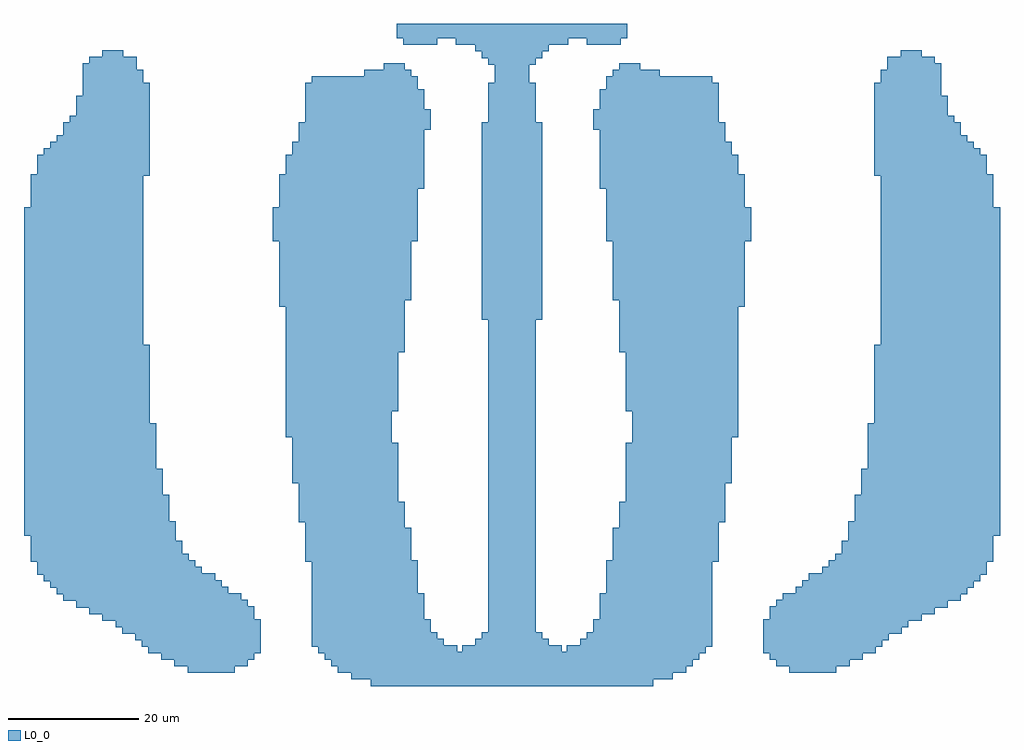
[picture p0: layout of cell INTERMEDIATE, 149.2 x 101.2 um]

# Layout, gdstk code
import gdstk
lib = gdstk.Library(unit=1e-6, precision=1e-09)
def R(c, l, rs):  # rectangles x0, y0, x1, y1
    for r in rs: c.add(gdstk.rectangle(r[:2], r[2:], *l))
def A(c, l, x, y, w, h, nx, ny, dx, dy):  # array of equal rectangles
    R(c, l, [(x+i*dx, y+j*dy, x+i*dx+w, y+j*dy+h) for i in range(nx) for j in range(ny)])
def P(c, l, *ps):  # polygons
    for p in ps: c.add(gdstk.Polygon(p, *l))
L0_0 = (0, 0)

intermediate = lib.new_cell('INTERMEDIATE')
A(intermediate, L0_0, 71.9, -91.1, 7.2, 1.2, 1, 8, 0, 1)
A(intermediate, L0_0, 88.9, -91.1, 17.2, 1.2, 1, 4, 0, 1)
A(intermediate, L0_0, 44.9, -87.1, 16.2, 1.2, 1, 5, 0, 1)
A(intermediate, L0_0, 89.9, -87.1, 16.2, 1.2, 1, 3, 0, 1)
A(intermediate, L0_0, 90.9, -81.1, 16.2, 1.2, 1, 4, 0, 1)
A(intermediate, L0_0, 71.9, -80.1, 7.2, 1.2, 1, 4, 0, 1)
A(intermediate, L0_0, 71.9, -76.1, 7.2, 2.2, 1, 3, 0, 5)
A(intermediate, L0_0, 71.9, -74.1, 7.2, 1.2, 1, 3, 0, 1)
A(intermediate, L0_0, 71.9, -69.1, 7.2, 1.2, 1, 3, 0, 1)
A(intermediate, L0_0, 71.9, -57.1, 7.2, 2.2, 1, 3, 0, 5)
A(intermediate, L0_0, 71.9, -55.1, 7.2, 1.2, 1, 3, 0, 1)
A(intermediate, L0_0, 71.9, -50.1, 7.2, 1.2, 1, 3, 0, 1)
A(intermediate, L0_0, 70.9, -45.1, 9.2, 1.2, 1, 3, 0, 1)
A(intermediate, L0_0, 0.9, -43.1, 18.2, 1.2, 1, 3, 0, 1)
A(intermediate, L0_0, 131.9, -41.1, 18.2, 1.2, 1, 3, 0, 1)
A(intermediate, L0_0, 90.9, -40.1, 20.2, 1.2, 1, 3, 0, 1)
A(intermediate, L0_0, 70.9, -39.1, 9.2, 1.2, 1, 4, 0, 1)
A(intermediate, L0_0, 39.9, -38.1, 20.2, 1.2, 1, 3, 0, 1)
A(intermediate, L0_0, 0.9, -37.1, 18.2, 1.2, 1, 4, 0, 1)
A(intermediate, L0_0, 131.9, -35.1, 18.2, 1.2, 1, 5, 0, 1)
A(intermediate, L0_0, 70.9, -33.1, 9.2, 1.2, 1, 6, 0, 1)
A(intermediate, L0_0, 89.9, -33.1, 22.2, 1.2, 1, 4, 0, 1)
A(intermediate, L0_0, 38.9, -31.1, 22.2, 1.2, 1, 3, 0, 1)
A(intermediate, L0_0, 1.9, -28.1, 17.2, 1.2, 1, 3, 0, 1)
A(intermediate, L0_0, 131.9, -27.1, 17.2, 1.2, 1, 4, 0, 1)
A(intermediate, L0_0, 70.9, -25.1, 9.2, 1.2, 1, 5, 0, 1)
A(intermediate, L0_0, 40.9, -23.1, 21.2, 1.2, 1, 3, 0, 1)
R(intermediate, L0_0, [(79.9,-101.1,97.1,-99.9), (25.9,-99.1,33.1,-97.9), (117.9,-99.1,125.1,-97.9), (115.9,-98.1,127.1,-96.9), (114.9,-97.1,129.1,-95.9), (45.9,-96.1,67.1,-94.9), (67.9,-96.1,83.1,-94.9), (83.9,-96.1,105.1,-94.9), (18.9,-95.1,37.1,-93.9), (44.9,-95.1,65.1,-93.9), (69.9,-95.1,81.1,-93.9), (85.9,-95.1,106.1,-93.9), (17.9,-94.1,37.1,-92.9), (44.9,-94.1,64.1,-92.9), (70.9,-94.1,80.1,-92.9), (15.9,-93.1,37.1,-91.9), (71.9,-93.1,79.1,-90.9), (14.9,-92.1,37.1,-90.9), (113.9,-92.1,136.1,-90.9), (114.9,-91.1,138.1,-89.9), (114.9,-90.1,140.1,-88.9), (44.9,-89.1,62.1,-87.9), (115.9,-89.1,142.1,-87.9), (44.9,-88.1,62.1,-86.9), (116.9,-88.1,144.1,-86.9), (4.9,-86.1,31.1,-84.9), (3.9,-85.1,30.1,-83.9), (2.9,-84.1,28.1,-82.9), (2.9,-83.1,27.1,-81.9), (1.9,-82.1,26.1,-80.9), (124.9,-82.1,149.1,-80.9), (125.9,-81.1,149.1,-79.9), (125.9,-80.1,149.1,-78.9), (43.9,-79.1,60.1,-77.9), (0.9,-78.1,24.1,-76.9), (43.9,-78.1,60.1,-76.9), (0.9,-77.1,24.1,-75.9), (43.9,-77.1,59.1,-75.9), (0.9,-76.1,23.1,-74.9), (91.9,-75.1,108.1,-73.9), (127.9,-75.1,150.1,-73.9), (91.9,-74.1,108.1,-72.9), (127.9,-74.1,150.1,-72.9), (42.9,-73.1,58.1,-71.9), (92.9,-73.1,108.1,-71.9), (0.9,-72.1,22.1,-70.9), (42.9,-72.1,58.1,-70.9), (0.9,-71.1,22.1,-69.9), (128.9,-70.1,150.1,-68.9), (92.9,-69.1,109.1,-67.9), (128.9,-69.1,150.1,-67.9), (41.9,-68.1,58.1,-66.9), (92.9,-68.1,109.1,-66.9), (0.9,-67.1,21.1,-65.9), (41.9,-67.1,58.1,-65.9), (0.9,-66.1,21.1,-64.9), (129.9,-65.1,150.1,-63.9), (71.9,-64.1,79.1,-62.9), (93.9,-64.1,109.1,-62.9), (129.9,-64.1,150.1,-62.9), (40.9,-63.1,57.1,-61.9), (71.9,-63.1,79.1,-61.9), (93.9,-63.1,110.1,-61.9), (0.9,-62.1,21.1,-60.9), (40.9,-62.1,57.1,-60.9), (93.9,-62.1,110.1,-59.9), (40.9,-61.1,57.1,-58.9), (93.9,-60.1,110.1,-58.9), (130.9,-60.1,150.1,-58.9), (40.9,-59.1,58.1,-57.9), (71.9,-59.1,79.1,-57.9), (92.9,-59.1,110.1,-57.9), (0.9,-58.1,20.1,-56.9), (40.9,-58.1,58.1,-56.9), (71.9,-58.1,79.1,-56.9), (0.9,-57.1,20.1,-55.9), (130.9,-56.1,150.1,-54.9), (92.9,-55.1,110.1,-53.9), (130.9,-55.1,150.1,-53.9), (40.9,-54.1,58.1,-52.9), (92.9,-54.1,110.1,-52.9), (0.9,-53.1,20.1,-51.9), (40.9,-53.1,58.1,-51.9), (0.9,-52.1,20.1,-50.9), (130.9,-51.1,150.1,-49.9), (91.9,-50.1,110.1,-48.9), (130.9,-50.1,150.1,-48.9), (40.9,-49.1,59.1,-47.9), (91.9,-49.1,110.1,-47.9), (0.9,-48.1,19.1,-46.9), (40.9,-48.1,59.1,-46.9), (0.9,-47.1,19.1,-45.9), (131.9,-46.1,150.1,-44.9), (91.9,-45.1,110.1,-43.9), (131.9,-45.1,150.1,-43.9), (40.9,-44.1,59.1,-42.9), (91.9,-44.1,110.1,-42.9), (39.9,-43.1,59.1,-41.9), (39.9,-42.1,60.1,-40.9), (70.9,-35.1,80.1,-32.9), (0.9,-29.1,19.1,-27.9), (39.9,-28.1,61.1,-26.9), (70.9,-27.1,80.1,-24.9), (88.9,-25.1,111.1,-23.9), (88.9,-24.1,111.1,-22.9), (88.9,-23.1,110.1,-21.9), (2.9,-22.1,20.1,-20.9), (2.9,-21.1,20.1,-19.9), (3.9,-20.1,20.1,-18.9), (70.9,-20.1,80.1,-17.9), (130.9,-20.1,147.1,-18.9), (88.9,-19.1,109.1,-17.9), (130.9,-19.1,146.1,-17.9), (70.9,-18.1,80.1,-16.9), (88.9,-18.1,108.1,-16.9), (6.9,-17.1,20.1,-15.9), (42.9,-17.1,62.1,-15.9), (70.9,-17.1,80.1,-15.9), (6.9,-16.1,20.1,-14.9), (130.9,-15.1,143.1,-13.9), (71.9,-14.1,79.1,-12.9), (130.9,-14.1,142.1,-11.9), (8.9,-13.1,20.1,-11.9), (71.9,-13.1,79.1,-10.9), (130.9,-12.1,142.1,-10.9), (71.9,-11.1,79.1,-9.9), (130.9,-11.1,141.1,-8.9)])
P(intermediate, L0_0, [(84.1,-2.1),(86.9,-2.1),(86.9,-3.1),(92.1,-3.1),(92.1,-2.1),(93.1,-2.1),(93.1,0.1),(57.9,0.1),(57.9,-2.1),(58.9,-2.1),(58.9,-3.1),(64.1,-3.1),(64.1,-2.1),(66.9,-2.1),(66.9,-3.1),(69.9,-3.1),(69.9,-4.1),(73.1,-4.1),(73.1,-3.1),(84.1,-3.1)],
  [(79.1,-6.1),(79.1,-5.1),(80.1,-5.1),(80.1,-4.1),(81.1,-4.1),(81.1,-2.9),(72.9,-2.9),(72.9,-3.9),(70.9,-3.9),(70.9,-5.1),(71.9,-5.1),(71.9,-6.1),(72.9,-6.1),(72.9,-8.1),(78.1,-8.1),(78.1,-6.1)],
  [(141.1,-5.9),(140.1,-5.9),(140.1,-4.9),(138.1,-4.9),(138.1,-3.9),(134.9,-3.9),(134.9,-4.9),(132.9,-4.9),(132.9,-6.9),(131.9,-6.9),(131.9,-8.1),(133.1,-8.1),(133.1,-7.1),(141.1,-7.1)],
  [(16.1,-4.9),(16.1,-3.9),(12.9,-3.9),(12.9,-4.9),(10.9,-4.9),(10.9,-5.9),(9.9,-5.9),(9.9,-8.1),(19.1,-8.1),(19.1,-6.9),(18.1,-6.9),(18.1,-4.9)],
  [(95.1,-5.9),(91.9,-5.9),(91.9,-6.9),(90.9,-6.9),(90.9,-8.1),(98.1,-8.1),(98.1,-6.9),(95.1,-6.9)],
  [(55.9,-6.9),(52.9,-6.9),(52.9,-8.1),(60.1,-8.1),(60.1,-6.9),(59.1,-6.9),(59.1,-5.9),(55.9,-5.9)],
  [(132.9,-6.9),(132.9,-7.9),(131.9,-7.9),(131.9,-9.1),(141.1,-9.1),(141.1,-6.9)],
  [(106.1,-7.9),(89.9,-7.9),(89.9,-10.1),(93.1,-10.1),(93.1,-9.1),(106.1,-9.1)],
  [(72.9,-8.9),(71.9,-8.9),(71.9,-10.1),(79.1,-10.1),(79.1,-8.9),(78.1,-8.9),(78.1,-7.9),(72.9,-7.9)],
  [(9.9,-10.1),(20.1,-10.1),(20.1,-8.9),(19.1,-8.9),(19.1,-7.9),(9.9,-7.9)],
  [(44.9,-7.9),(44.9,-8.9),(43.9,-8.9),(43.9,-10.1),(61.1,-10.1),(61.1,-7.9)],
  [(92.9,-8.9),(92.9,-9.9),(88.9,-9.9),(88.9,-11.1),(107.1,-11.1),(107.1,-8.9)],
  [(62.1,-9.9),(43.9,-9.9),(43.9,-12.1),(46.1,-12.1),(46.1,-11.1),(62.1,-11.1)],
  [(9.9,-9.9),(9.9,-10.9),(8.9,-10.9),(8.9,-12.1),(20.1,-12.1),(20.1,-9.9)],
  [(107.1,-10.9),(88.9,-10.9),(88.9,-13.1),(101.1,-13.1),(101.1,-12.1),(107.1,-12.1)],
  [(45.9,-10.9),(45.9,-11.9),(43.9,-11.9),(43.9,-13.1),(62.1,-13.1),(62.1,-10.9)],
  [(100.9,-11.9),(100.9,-12.9),(87.9,-12.9),(87.9,-14.1),(107.1,-14.1),(107.1,-11.9)],
  [(8.9,-12.9),(8.9,-13.9),(7.9,-13.9),(7.9,-15.1),(20.1,-15.1),(20.1,-12.9)],
  [(63.1,-12.9),(43.9,-12.9),(43.9,-15.1),(48.1,-15.1),(48.1,-14.1),(63.1,-14.1)],
  [(107.1,-13.9),(87.9,-13.9),(87.9,-16.1),(93.1,-16.1),(93.1,-15.1),(107.1,-15.1)],
  [(47.9,-13.9),(47.9,-14.9),(42.9,-14.9),(42.9,-16.1),(63.1,-16.1),(63.1,-13.9)],
  [(71.9,-14.9),(70.9,-14.9),(70.9,-16.1),(80.1,-16.1),(80.1,-14.9),(79.1,-14.9),(79.1,-13.9),(71.9,-13.9)],
  [(92.9,-14.9),(92.9,-15.9),(88.9,-15.9),(88.9,-17.1),(108.1,-17.1),(108.1,-14.9)],
  [(130.9,-17.1),(143.1,-17.1),(143.1,-16.1),(144.1,-16.1),(144.1,-14.9),(130.9,-14.9)],
  [(130.9,-18.1),(145.1,-18.1),(145.1,-16.9),(144.1,-16.9),(144.1,-15.9),(142.9,-15.9),(142.9,-16.9),(130.9,-16.9)],
  [(5.9,-16.9),(5.9,-17.9),(4.9,-17.9),(4.9,-19.1),(20.1,-19.1),(20.1,-16.9)],
  [(62.1,-16.9),(42.9,-16.9),(42.9,-17.9),(41.9,-17.9),(41.9,-19.1),(51.1,-19.1),(51.1,-18.1),(62.1,-18.1)],
  [(50.9,-17.9),(50.9,-18.9),(41.9,-18.9),(41.9,-20.1),(62.1,-20.1),(62.1,-17.9)],
  [(109.1,-18.9),(88.9,-18.9),(88.9,-21.1),(106.1,-21.1),(106.1,-20.1),(109.1,-20.1)],
  [(105.9,-19.9),(105.9,-20.9),(88.9,-20.9),(88.9,-22.1),(110.1,-22.1),(110.1,-19.9)],
  [(148.1,-19.9),(130.9,-19.9),(130.9,-22.1),(142.1,-22.1),(142.1,-21.1),(148.1,-21.1)],
  [(141.9,-20.9),(141.9,-21.9),(130.9,-21.9),(130.9,-23.1),(148.1,-23.1),(148.1,-20.9)],
  [(20.1,-21.9),(2.9,-21.9),(2.9,-22.9),(1.9,-22.9),(1.9,-24.1),(11.1,-24.1),(11.1,-23.1),(20.1,-23.1)],
  [(10.9,-22.9),(10.9,-23.9),(1.9,-23.9),(1.9,-25.1),(19.1,-25.1),(19.1,-22.9)],
  [(62.1,-22.9),(39.9,-22.9),(39.9,-25.1),(45.1,-25.1),(45.1,-24.1),(62.1,-24.1)],
  [(62.1,-23.9),(44.9,-23.9),(44.9,-24.9),(39.9,-24.9),(39.9,-26.1),(58.1,-26.1),(58.1,-25.1),(62.1,-25.1)],
  [(111.1,-24.9),(89.9,-24.9),(89.9,-27.1),(93.1,-27.1),(93.1,-26.1),(111.1,-26.1)],
  [(57.9,-24.9),(57.9,-25.9),(39.9,-25.9),(39.9,-27.1),(61.1,-27.1),(61.1,-24.9)],
  [(111.1,-25.9),(92.9,-25.9),(92.9,-26.9),(89.9,-26.9),(89.9,-28.1),(108.1,-28.1),(108.1,-27.1),(111.1,-27.1)],
  [(107.9,-27.9),(89.9,-27.9),(89.9,-29.1),(112.1,-29.1),(112.1,-27.9),(111.1,-27.9),(111.1,-26.9),(107.9,-26.9)],
  [(149.1,-26.9),(131.9,-26.9),(131.9,-29.1),(141.1,-29.1),(141.1,-28.1),(149.1,-28.1)],
  [(140.9,-27.9),(140.9,-28.9),(131.9,-28.9),(131.9,-30.1),(150.1,-30.1),(150.1,-27.9)],
  [(19.1,-28.9),(0.9,-28.9),(0.9,-31.1),(3.1,-31.1),(3.1,-30.1),(19.1,-30.1)],
  [(19.1,-29.9),(2.9,-29.9),(2.9,-30.9),(0.9,-30.9),(0.9,-32.1),(14.1,-32.1),(14.1,-31.1),(19.1,-31.1)],
  [(13.9,-30.9),(13.9,-31.9),(0.9,-31.9),(0.9,-33.1),(19.1,-33.1),(19.1,-30.9)],
  [(61.1,-30.9),(38.9,-30.9),(38.9,-33.1),(45.1,-33.1),(45.1,-32.1),(61.1,-32.1)],
  [(61.1,-31.9),(44.9,-31.9),(44.9,-32.9),(39.9,-32.9),(39.9,-34.1),(57.1,-34.1),(57.1,-33.1),(61.1,-33.1)],
  [(111.1,-32.9),(90.9,-32.9),(90.9,-35.1),(94.1,-35.1),(94.1,-34.1),(111.1,-34.1)],
  [(56.9,-32.9),(56.9,-33.9),(39.9,-33.9),(39.9,-35.1),(60.1,-35.1),(60.1,-32.9)],
  [(111.1,-33.9),(93.9,-33.9),(93.9,-34.9),(90.9,-34.9),(90.9,-36.1),(109.1,-36.1),(109.1,-35.1),(111.1,-35.1)],
  [(108.9,-34.9),(108.9,-35.9),(90.9,-35.9),(90.9,-37.1),(111.1,-37.1),(111.1,-34.9)],
  [(150.1,-34.9),(131.9,-34.9),(131.9,-37.1),(145.1,-37.1),(145.1,-36.1),(150.1,-36.1)],
  [(144.9,-35.9),(144.9,-36.9),(131.9,-36.9),(131.9,-38.1),(150.1,-38.1),(150.1,-35.9)],
  [(19.1,-36.9),(0.9,-36.9),(0.9,-39.1),(11.1,-39.1),(11.1,-38.1),(19.1,-38.1)],
  [(10.9,-37.9),(10.9,-38.9),(0.9,-38.9),(0.9,-40.1),(19.1,-40.1),(19.1,-37.9)],
  [(60.1,-37.9),(39.9,-37.9),(39.9,-40.1),(47.1,-40.1),(47.1,-39.1),(60.1,-39.1)],
  [(46.9,-38.9),(46.9,-39.9),(39.9,-39.9),(39.9,-41.1),(60.1,-41.1),(60.1,-38.9)],
  [(80.1,-38.9),(70.9,-38.9),(70.9,-41.1),(73.1,-41.1),(73.1,-40.1),(80.1,-40.1)],
  [(111.1,-39.9),(90.9,-39.9),(90.9,-42.1),(99.1,-42.1),(99.1,-41.1),(111.1,-41.1)],
  [(72.9,-39.9),(72.9,-40.9),(70.9,-40.9),(70.9,-42.1),(80.1,-42.1),(80.1,-39.9)],
  [(98.9,-40.9),(98.9,-41.9),(91.9,-41.9),(91.9,-43.1),(111.1,-43.1),(111.1,-40.9)],
  [(150.1,-40.9),(131.9,-40.9),(131.9,-43.1),(137.1,-43.1),(137.1,-42.1),(150.1,-42.1)],
  [(136.9,-41.9),(136.9,-42.9),(131.9,-42.9),(131.9,-44.1),(150.1,-44.1),(150.1,-41.9)],
  [(19.1,-42.9),(0.9,-42.9),(0.9,-45.1),(7.1,-45.1),(7.1,-44.1),(19.1,-44.1)],
  [(6.9,-43.9),(6.9,-44.9),(0.9,-44.9),(0.9,-46.1),(19.1,-46.1),(19.1,-43.9)],
  [(59.1,-43.9),(40.9,-43.9),(40.9,-46.1),(48.1,-46.1),(48.1,-45.1),(59.1,-45.1)],
  [(110.1,-44.9),(91.9,-44.9),(91.9,-47.1),(95.1,-47.1),(95.1,-46.1),(110.1,-46.1)],
  [(47.9,-44.9),(47.9,-45.9),(40.9,-45.9),(40.9,-47.1),(59.1,-47.1),(59.1,-44.9)],
  [(150.1,-45.9),(131.9,-45.9),(131.9,-48.1),(138.1,-48.1),(138.1,-47.1),(150.1,-47.1)],
  [(94.9,-45.9),(94.9,-46.9),(91.9,-46.9),(91.9,-48.1),(110.1,-48.1),(110.1,-45.9)],
  [(137.9,-46.9),(137.9,-47.9),(131.9,-47.9),(131.9,-49.1),(150.1,-49.1),(150.1,-46.9)],
  [(19.1,-47.9),(0.9,-47.9),(0.9,-50.1),(10.1,-50.1),(10.1,-49.1),(19.1,-49.1)],
  [(9.9,-48.9),(9.9,-49.9),(0.9,-49.9),(0.9,-51.1),(20.1,-51.1),(20.1,-48.9)],
  [(59.1,-48.9),(40.9,-48.9),(40.9,-51.1),(50.1,-51.1),(50.1,-50.1),(59.1,-50.1)],
  [(110.1,-49.9),(92.9,-49.9),(92.9,-52.1),(99.1,-52.1),(99.1,-51.1),(110.1,-51.1)],
  [(49.9,-49.9),(49.9,-50.9),(40.9,-50.9),(40.9,-52.1),(58.1,-52.1),(58.1,-49.9)],
  [(98.9,-50.9),(98.9,-51.9),(92.9,-51.9),(92.9,-53.1),(110.1,-53.1),(110.1,-50.9)],
  [(150.1,-50.9),(130.9,-50.9),(130.9,-53.1),(141.1,-53.1),(141.1,-52.1),(150.1,-52.1)],
  [(140.9,-51.9),(140.9,-52.9),(130.9,-52.9),(130.9,-54.1),(150.1,-54.1),(150.1,-51.9)],
  [(20.1,-52.9),(0.9,-52.9),(0.9,-55.1),(13.1,-55.1),(13.1,-54.1),(20.1,-54.1)],
  [(12.9,-53.9),(12.9,-54.9),(0.9,-54.9),(0.9,-56.1),(20.1,-56.1),(20.1,-53.9)],
  [(58.1,-53.9),(40.9,-53.9),(40.9,-56.1),(55.1,-56.1),(55.1,-55.1),(58.1,-55.1)],
  [(110.1,-54.9),(92.9,-54.9),(92.9,-57.1),(104.1,-57.1),(104.1,-56.1),(110.1,-56.1)],
  [(54.9,-54.9),(54.9,-55.9),(40.9,-55.9),(40.9,-57.1),(58.1,-57.1),(58.1,-54.9)],
  [(103.9,-55.9),(103.9,-56.9),(92.9,-56.9),(92.9,-58.1),(110.1,-58.1),(110.1,-55.9)],
  [(150.1,-55.9),(130.9,-55.9),(130.9,-58.1),(146.1,-58.1),(146.1,-57.1),(150.1,-57.1)],
  [(145.9,-56.9),(145.9,-57.9),(130.9,-57.9),(130.9,-59.1),(150.1,-59.1),(150.1,-56.9)],
  [(20.1,-57.9),(0.9,-57.9),(0.9,-60.1),(18.1,-60.1),(18.1,-59.1),(20.1,-59.1)],
  [(17.9,-58.9),(17.9,-59.9),(0.9,-59.9),(0.9,-61.1),(20.1,-61.1),(20.1,-58.9)],
  [(79.1,-58.9),(71.9,-58.9),(71.9,-61.1),(77.1,-61.1),(77.1,-60.1),(79.1,-60.1)],
  [(150.1,-59.9),(130.9,-59.9),(130.9,-60.9),(129.9,-60.9),(129.9,-62.1),(134.1,-62.1),(134.1,-61.1),(150.1,-61.1)],
  [(76.9,-59.9),(76.9,-60.9),(71.9,-60.9),(71.9,-62.1),(79.1,-62.1),(79.1,-59.9)],
  [(133.9,-60.9),(133.9,-61.9),(129.9,-61.9),(129.9,-63.1),(150.1,-63.1),(150.1,-60.9)],
  [(21.1,-61.9),(0.9,-61.9),(0.9,-64.1),(6.1,-64.1),(6.1,-63.1),(21.1,-63.1)],
  [(5.9,-62.9),(5.9,-63.9),(0.9,-63.9),(0.9,-65.1),(21.1,-65.1),(21.1,-62.9)],
  [(57.1,-62.9),(41.9,-62.9),(41.9,-65.1),(50.1,-65.1),(50.1,-64.1),(57.1,-64.1)],
  [(109.1,-63.9),(92.9,-63.9),(92.9,-66.1),(99.1,-66.1),(99.1,-65.1),(109.1,-65.1)],
  [(49.9,-63.9),(49.9,-64.9),(41.9,-64.9),(41.9,-66.1),(58.1,-66.1),(58.1,-63.9)],
  [(98.9,-64.9),(98.9,-65.9),(92.9,-65.9),(92.9,-67.1),(109.1,-67.1),(109.1,-64.9)],
  [(150.1,-64.9),(129.9,-64.9),(129.9,-67.1),(141.1,-67.1),(141.1,-66.1),(150.1,-66.1)],
  [(140.9,-65.9),(140.9,-66.9),(129.9,-66.9),(129.9,-68.1),(150.1,-68.1),(150.1,-65.9)],
  [(21.1,-66.9),(0.9,-66.9),(0.9,-69.1),(13.1,-69.1),(13.1,-68.1),(21.1,-68.1)],
  [(12.9,-67.9),(12.9,-68.9),(0.9,-68.9),(0.9,-70.1),(22.1,-70.1),(22.1,-67.9)],
  [(58.1,-67.9),(41.9,-67.9),(41.9,-70.1),(52.1,-70.1),(52.1,-69.1),(58.1,-69.1)],
  [(109.1,-68.9),(92.9,-68.9),(92.9,-71.1),(100.1,-71.1),(100.1,-70.1),(109.1,-70.1)],
  [(51.9,-68.9),(51.9,-69.9),(42.9,-69.9),(42.9,-71.1),(58.1,-71.1),(58.1,-68.9)],
  [(99.9,-69.9),(99.9,-70.9),(92.9,-70.9),(92.9,-72.1),(108.1,-72.1),(108.1,-69.9)],
  [(150.1,-69.9),(128.9,-69.9),(128.9,-72.1),(142.1,-72.1),(142.1,-71.1),(150.1,-71.1)],
  [(141.9,-70.9),(141.9,-71.9),(127.9,-71.9),(127.9,-73.1),(150.1,-73.1),(150.1,-70.9)],
  [(23.1,-71.9),(0.9,-71.9),(0.9,-74.1),(12.1,-74.1),(12.1,-73.1),(23.1,-73.1)],
  [(11.9,-72.9),(11.9,-73.9),(0.9,-73.9),(0.9,-75.1),(23.1,-75.1),(23.1,-72.9)],
  [(59.1,-72.9),(42.9,-72.9),(42.9,-75.1),(49.1,-75.1),(49.1,-74.1),(59.1,-74.1)],
  [(48.9,-73.9),(48.9,-74.9),(42.9,-74.9),(42.9,-76.1),(59.1,-76.1),(59.1,-73.9)],
  [(150.1,-74.9),(127.9,-74.9),(127.9,-75.9),(126.9,-75.9),(126.9,-77.1),(129.1,-77.1),(129.1,-76.1),(150.1,-76.1)],
  [(91.9,-77.1),(107.1,-77.1),(107.1,-76.1),(108.1,-76.1),(108.1,-74.9),(91.9,-74.9)],
  [(150.1,-75.9),(128.9,-75.9),(128.9,-76.9),(126.9,-76.9),(126.9,-78.1),(144.1,-78.1),(144.1,-77.1),(150.1,-77.1)],
  [(143.9,-77.9),(126.9,-77.9),(126.9,-79.1),(149.1,-79.1),(149.1,-78.1),(150.1,-78.1),(150.1,-76.9),(143.9,-76.9)],
  [(24.1,-77.9),(1.9,-77.9),(1.9,-80.1),(13.1,-80.1),(13.1,-79.1),(24.1,-79.1)],
  [(12.9,-78.9),(12.9,-79.9),(1.9,-79.9),(1.9,-81.1),(25.1,-81.1),(25.1,-78.9)],
  [(60.1,-78.9),(43.9,-78.9),(43.9,-81.1),(47.1,-81.1),(47.1,-80.1),(60.1,-80.1)],
  [(46.9,-79.9),(46.9,-80.9),(43.9,-80.9),(43.9,-82.1),(60.1,-82.1),(60.1,-79.9)],
  [(79.1,-79.9),(71.9,-79.9),(71.9,-82.1),(73.1,-82.1),(73.1,-81.1),(79.1,-81.1)],
  [(72.9,-80.9),(72.9,-81.9),(71.9,-81.9),(71.9,-83.1),(79.1,-83.1),(79.1,-80.9)],
  [(107.1,-80.9),(90.9,-80.9),(90.9,-81.9),(89.9,-81.9),(89.9,-83.1),(97.1,-83.1),(97.1,-82.1),(107.1,-82.1)],
  [(148.1,-81.9),(123.9,-81.9),(123.9,-82.9),(122.9,-82.9),(122.9,-84.1),(126.1,-84.1),(126.1,-83.1),(148.1,-83.1)],
  [(96.9,-81.9),(96.9,-82.9),(89.9,-82.9),(89.9,-84.1),(106.1,-84.1),(106.1,-81.9)],
  [(148.1,-82.9),(125.9,-82.9),(125.9,-83.9),(120.9,-83.9),(120.9,-85.1),(134.1,-85.1),(134.1,-84.1),(148.1,-84.1)],
  [(147.1,-83.9),(133.9,-83.9),(133.9,-84.9),(119.9,-84.9),(119.9,-86.1),(142.1,-86.1),(142.1,-85.1),(147.1,-85.1)],
  [(141.9,-85.9),(118.9,-85.9),(118.9,-87.1),(145.1,-87.1),(145.1,-86.1),(146.1,-86.1),(146.1,-84.9),(141.9,-84.9)],
  [(32.1,-85.9),(5.9,-85.9),(5.9,-87.1),(6.9,-87.1),(6.9,-88.1),(12.1,-88.1),(12.1,-87.1),(32.1,-87.1)],
  [(34.1,-86.9),(11.9,-86.9),(11.9,-87.9),(8.9,-87.9),(8.9,-89.1),(19.1,-89.1),(19.1,-88.1),(34.1,-88.1)],
  [(35.1,-87.9),(18.9,-87.9),(18.9,-88.9),(10.9,-88.9),(10.9,-90.1),(28.1,-90.1),(28.1,-89.1),(35.1,-89.1)],
  [(27.9,-88.9),(27.9,-89.9),(12.9,-89.9),(12.9,-91.1),(36.1,-91.1),(36.1,-88.9)],
  [(62.1,-88.9),(44.9,-88.9),(44.9,-91.1),(48.1,-91.1),(48.1,-90.1),(62.1,-90.1)],
  [(47.9,-89.9),(47.9,-90.9),(44.9,-90.9),(44.9,-92.1),(62.1,-92.1),(62.1,-89.9)],
  [(106.1,-90.9),(87.9,-90.9),(87.9,-93.1),(94.1,-93.1),(94.1,-92.1),(106.1,-92.1)],
  [(61.9,-90.9),(61.9,-91.9),(44.9,-91.9),(44.9,-93.1),(63.1,-93.1),(63.1,-90.9)],
  [(135.1,-91.9),(113.9,-91.9),(113.9,-94.1),(115.1,-94.1),(115.1,-93.1),(135.1,-93.1)],
  [(93.9,-91.9),(93.9,-92.9),(86.9,-92.9),(86.9,-94.1),(106.1,-94.1),(106.1,-91.9)],
  [(133.1,-92.9),(114.9,-92.9),(114.9,-93.9),(113.9,-93.9),(113.9,-95.1),(127.1,-95.1),(127.1,-94.1),(133.1,-94.1)],
  [(126.9,-94.9),(113.9,-94.9),(113.9,-96.1),(131.1,-96.1),(131.1,-95.1),(132.1,-95.1),(132.1,-93.9),(126.9,-93.9)],
  [(37.1,-94.9),(19.9,-94.9),(19.9,-96.1),(21.9,-96.1),(21.9,-97.1),(26.1,-97.1),(26.1,-96.1),(37.1,-96.1)],
  [(104.1,-95.9),(46.9,-95.9),(46.9,-97.1),(47.9,-97.1),(47.9,-98.1),(56.1,-98.1),(56.1,-97.1),(104.1,-97.1)],
  [(25.9,-96.9),(23.9,-96.9),(23.9,-98.1),(35.1,-98.1),(35.1,-97.1),(36.1,-97.1),(36.1,-95.9),(25.9,-95.9)],
  [(103.1,-96.9),(55.9,-96.9),(55.9,-97.9),(48.9,-97.9),(48.9,-99.1),(84.1,-99.1),(84.1,-98.1),(103.1,-98.1)],
  [(100.1,-99.1),(102.1,-99.1),(102.1,-97.9),(83.9,-97.9),(83.9,-98.9),(50.9,-98.9),(50.9,-100.1),(53.9,-100.1),(53.9,-101.1),(80.1,-101.1),(80.1,-100.1),(100.1,-100.1)])

lib.write_gds('INTERMEDIATE.gds')
